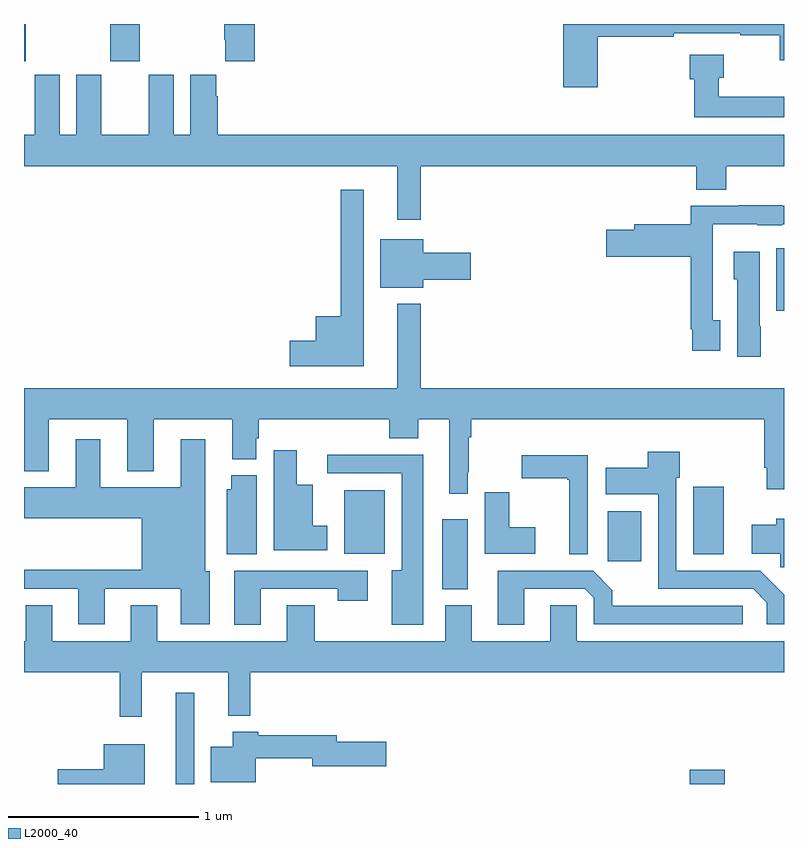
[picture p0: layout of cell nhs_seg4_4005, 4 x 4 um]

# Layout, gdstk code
import gdstk
lib = gdstk.Library(unit=1e-6, precision=1e-09)
def R(c, l, rs):  # rectangles x0, y0, x1, y1
    for r in rs: c.add(gdstk.rectangle(r[:2], r[2:], *l))
def P(c, l, *ps):  # polygons
    for p in ps: c.add(gdstk.Polygon(p, *l))
L2000_40 = (2000, 40)

nhs_seg4_4005 = lib.new_cell('nhs_seg4_4005')
R(nhs_seg4_4005, L2000_40, [(323.798,794.9,323.895,795.379), (326.504,794.9,326.687,794.974), (325.202,795.925,325.336,796.294), (326.072,796.073,326.248,796.336), (326.522,796.108,326.683,796.465), (324.686,796.112,324.898,796.447), (326.96,797.391,327,797.719), (323,798.705,323.01,798.9), (323.455,798.705,323.61,798.9)])
P(nhs_seg4_4005, L2000_40, [(326.021,798.832),(326.42,798.832),(326.42,798.852),(326.77,798.852),(326.77,798.84),(326.978,798.84),(326.978,798.71),(327,798.71),(327,798.9),(325.838,798.9),(325.838,798.567),(326.021,798.567)],
  [(324.215,798.9),(324.055,798.9),(324.055,798.817),(324.059,798.817),(324.059,798.705),(324.215,798.705)],
  [(327,798.517),(326.656,798.517),(326.656,798.617),(326.682,798.617),(326.682,798.739),(326.504,798.739),(326.504,798.61),(326.527,798.61),(326.527,798.408),(327,798.408)],
  [(325.087,798.152),(326.537,798.152),(326.537,798.028),(326.697,798.028),(326.697,798.152),(327,798.152),(327,798.316),(324.02,798.316),(324.02,798.521),(324.013,798.521),(324.013,798.634),(323.876,798.634),(323.876,798.316),(323.788,798.316),(323.788,798.634),(323.657,798.634),(323.657,798.316),(323.407,798.316),(323.407,798.634),(323.276,798.634),(323.276,798.316),(323.188,798.316),(323.188,798.634),(323.057,798.634),(323.057,798.316),(323,798.316),(323,798.152),(324.965,798.152),(324.965,797.871),(325.087,797.871)],
  [(324.787,798.028),(324.666,798.028),(324.666,797.362),(324.536,797.362),(324.536,797.234),(324.399,797.234),(324.399,797.099),(324.787,797.099)],
  [(326.665,797.342),(326.625,797.342),(326.625,797.846),(326.859,797.846),(326.859,797.84),(326.991,797.84),(326.991,797.847),(327,797.847),(327,797.943),(326.991,797.943),(326.991,797.945),(326.759,797.945),(326.759,797.943),(326.509,797.943),(326.509,797.847),(326.213,797.847),(326.213,797.817),(326.064,797.817),(326.064,797.675),(326.509,797.675),(326.509,797.293),(326.517,797.293),(326.517,797.181),(326.665,797.181)],
  [(325.102,797.555),(325.351,797.555),(325.351,797.697),(325.102,797.697),(325.102,797.767),(324.875,797.767),(324.875,797.513),(325.102,797.513)],
  [(326.878,797.31),(326.872,797.31),(326.872,797.701),(326.735,797.701),(326.735,797.556),(326.753,797.556),(326.753,797.148),(326.878,797.148)],
  [(325.335,796.54),(325.34,796.54),(325.34,796.724),(325.355,796.724),(325.355,796.82),(326.897,796.82),(326.897,796.564),(326.909,796.564),(326.909,796.452),(327,796.452),(327,796.984),(325.087,796.984),(325.087,797.428),(324.965,797.428),(324.965,796.984),(323,796.984),(323,796.547),(323.131,796.547),(323.131,796.82),(323.543,796.82),(323.543,796.547),(323.683,796.547),(323.683,796.82),(324.095,796.82),(324.095,796.609),(324.223,796.609),(324.223,796.719),(324.236,796.719),(324.236,796.82),(324.923,796.82),(324.923,796.721),(325.075,796.721),(325.075,796.82),(325.238,796.82),(325.238,796.428),(325.335,796.428)],
  [(323.425,795.927),(323.825,795.927),(323.825,795.741),(323.977,795.741),(323.977,796.02),(323.953,796.02),(323.953,796.714),(323.825,796.714),(323.825,796.462),(323.401,796.462),(323.401,796.714),(323.273,796.714),(323.273,796.462),(323,796.462),(323,796.298),(323.621,796.298),(323.621,796.028),(323,796.028),(323,795.927),(323.285,795.927),(323.285,795.741),(323.425,795.741)],
  [(324.595,796.258),(324.52,796.258),(324.52,796.474),(324.436,796.474),(324.436,796.657),(324.314,796.657),(324.314,796.13),(324.595,796.13)],
  [(327,795.897),(326.874,796.023),(326.433,796.023),(326.433,796.512),(326.452,796.512),(326.452,796.648),(326.284,796.648),(326.284,796.564),(326.061,796.564),(326.061,796.424),(326.337,796.424),(326.337,795.927),(326.838,795.927),(326.91,795.855),(326.91,795.741),(327,795.741)],
  [(325.102,796.634),(324.597,796.634),(324.597,796.536),(324.989,796.536),(324.989,796.024),(324.935,796.024),(324.935,795.738),(325.102,795.738)],
  [(325.968,796.63),(325.62,796.63),(325.62,796.508),(325.86,796.508),(325.86,796.501),(325.871,796.501),(325.871,796.108),(325.968,796.108)],
  [(324.226,796.524),(324.092,796.524),(324.092,796.452),(324.068,796.452),(324.068,796.108),(324.226,796.108)],
  [(325.69,796.252),(325.554,796.252),(325.554,796.435),(325.424,796.435),(325.424,796.112),(325.69,796.112)],
  [(327,796.297),(326.96,796.297),(326.96,796.264),(326.829,796.264),(326.829,796.112),(326.98,796.112),(326.98,796.04),(327,796.04)],
  [(325.633,795.927),(325.95,795.927),(325.998,795.879),(325.998,795.741),(326.782,795.741),(326.782,795.837),(326.097,795.837),(326.097,795.921),(325.995,796.023),(325.493,796.023),(325.493,795.738),(325.633,795.738)],
  [(324.247,795.927),(324.652,795.927),(324.652,795.864),(324.808,795.864),(324.808,796.023),(324.107,796.023),(324.107,795.738),(324.247,795.738)],
  [(323.621,795.488),(324.074,795.488),(324.074,795.26),(324.191,795.26),(324.191,795.488),(327,795.488),(327,795.652),(325.908,795.652),(325.908,795.842),(325.769,795.842),(325.769,795.652),(325.357,795.652),(325.357,795.84),(325.217,795.84),(325.217,795.652),(324.531,795.652),(324.531,795.842),(324.383,795.842),(324.383,795.652),(323.701,795.652),(323.701,795.842),(323.561,795.842),(323.561,795.652),(323.149,795.652),(323.149,795.842),(323.009,795.842),(323.009,795.652),(323,795.652),(323,795.488),(323.503,795.488),(323.503,795.255),(323.621,795.255)],
  [(324.22,795.036),(324.518,795.036),(324.518,794.993),(324.907,794.993),(324.907,795.123),(324.646,795.123),(324.646,795.157),(324.233,795.157),(324.233,795.175),(324.098,795.175),(324.098,795.097),(323.984,795.097),(323.984,794.909),(324.22,794.909)],
  [(323.635,795.109),(323.42,795.109),(323.42,794.978),(323.178,794.978),(323.178,794.9),(323.635,794.9)])

lib.write_gds('nhs_seg4_4005.gds')
